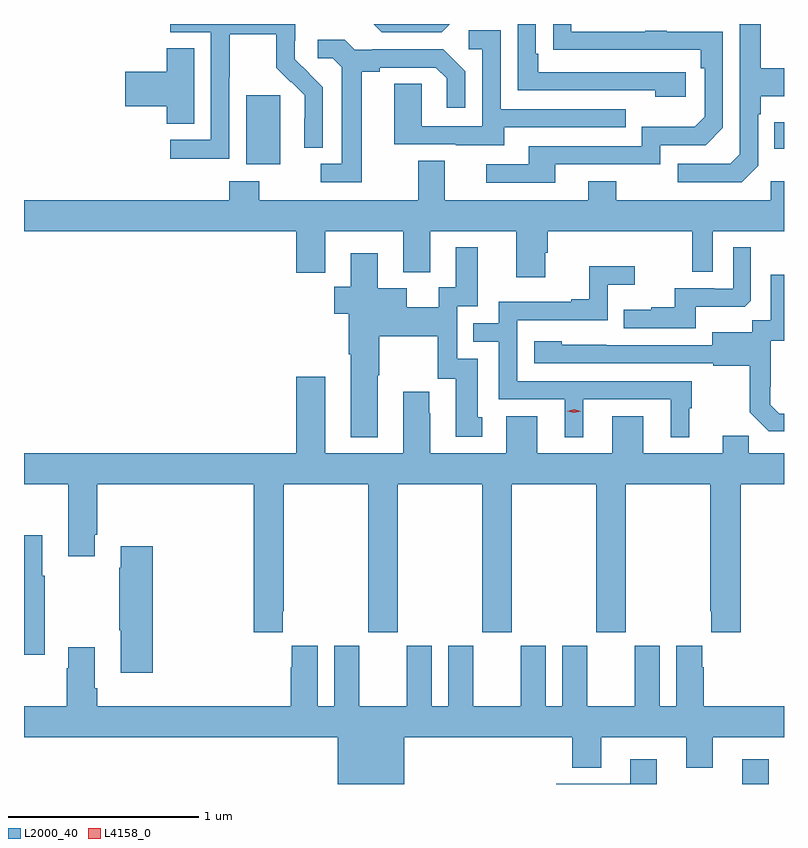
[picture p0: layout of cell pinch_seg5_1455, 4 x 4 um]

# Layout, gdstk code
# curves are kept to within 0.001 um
import gdstk
lib = gdstk.Library(unit=1e-6, precision=1e-09)
def R(c, l, rs):  # rectangles x0, y0, x1, y1
    for r in rs: c.add(gdstk.rectangle(r[:2], r[2:], *l))
def P(c, l, *ps):  # polygons
    for p in ps: c.add(gdstk.Polygon(p, *l))
L2000_40 = (2000, 40)
L4158_0 = (4158, 0)

pinch_seg5_1455 = lib.new_cell('pinch_seg5_1455')
R(pinch_seg5_1455, L2000_40, [(199.235,843.195,199.375,843.325), (196.625,846.458,196.804,846.819), (199.405,846.539,199.456,846.679)])
P(pinch_seg5_1455, L2000_40, [(196.536,846.916),(196.539,846.916),(196.539,847.14),(196.783,847.14),(196.783,846.965),(196.86,846.888),(196.863,846.891),(196.934,846.821),(196.934,846.698),(196.932,846.698),(196.932,846.544),(197.028,846.544),(197.028,846.862),(196.882,847.01),(196.882,847.107),(196.884,847.107),(196.884,847.195),(196.227,847.195),(196.227,847.152),(196.44,847.152),(196.44,846.585),(196.227,846.585),(196.227,846.487),(196.536,846.487)],
  [(197.698,847.195),(197.297,847.195),(197.34,847.152),(197.655,847.152)],
  [(198.94,846.942),(198.163,846.942),(198.163,847.039),(198.15,847.039),(198.15,847.195),(198.054,847.195),(198.054,846.846),(198.779,846.846),(198.779,846.812),(198.94,846.812)],
  [(199.32,846.45),(199.32,846.719),(199.333,846.719),(199.333,846.815),(199.456,846.815),(199.456,846.963),(199.333,846.963),(199.333,847.195),(199.22,847.195),(199.224,847.191),(199.224,846.51),(199.173,846.459),(198.897,846.459),(198.897,846.363),(199.233,846.363)],
  [(198.253,846.456),(198.804,846.456),(198.804,846.558),(199.044,846.558),(199.134,846.648),(199.134,847.155),(198.839,847.155),(198.839,847.16),(198.727,847.16),(198.727,847.155),(198.337,847.155),(198.337,847.195),(198.241,847.195),(198.241,847.06),(199.018,847.059),(199.018,846.962),(199.038,846.962),(199.038,846.708),(198.985,846.655),(198.708,846.655),(198.708,846.552),(198.113,846.552),(198.113,846.456),(197.889,846.456),(197.889,846.36),(198.253,846.36)],
  [(197.983,846.651),(198.623,846.651),(198.623,846.747),(197.964,846.747),(197.964,847.163),(197.796,847.163),(197.796,847.062),(197.868,847.062),(197.868,846.657),(197.55,846.657),(197.55,846.881),(197.405,846.881),(197.405,846.561),(197.729,846.561),(197.729,846.557),(197.983,846.557)],
  [(197.233,846.944),(197.329,846.944),(197.329,846.966),(197.624,846.966),(197.681,846.909),(197.681,846.753),(197.778,846.753),(197.778,846.946),(197.662,847.062),(197.29,847.062),(197.29,847.059),(197.196,847.059),(197.144,847.111),(197.001,847.111),(197.001,847.014),(197.082,847.014),(197.129,846.967),(197.129,846.459),(197.019,846.459),(197.019,846.363),(197.233,846.363)],
  [(196.351,847.067),(196.208,847.067),(196.208,846.944),(195.99,846.944),(195.99,846.761),(196.208,846.761),(196.208,846.67),(196.351,846.67)],
  [(199.456,846.367),(199.386,846.367),(199.386,846.268),(198.573,846.268),(198.573,846.367),(198.425,846.367),(198.425,846.268),(197.671,846.268),(197.671,846.476),(197.531,846.476),(197.531,846.268),(196.695,846.268),(196.695,846.367),(196.535,846.367),(196.535,846.268),(195.456,846.268),(195.456,846.104),(196.889,846.104),(196.889,845.886),(197.041,845.886),(197.041,846.104),(197.453,846.104),(197.453,845.888),(197.593,845.888),(197.593,846.104),(198.047,846.104),(198.047,845.862),(198.199,845.862),(198.199,845.991),(198.212,845.991),(198.212,846.104),(198.972,846.104),(198.972,845.89),(199.08,845.89),(199.08,846.104),(199.456,846.104)],
  [(198.991,845.708),(199.249,845.708),(199.281,845.739),(199.281,846.019),(199.188,846.019),(199.188,845.802),(199.088,845.802),(199.088,845.805),(198.881,845.805),(198.881,845.704),(198.757,845.704),(198.757,845.692),(198.613,845.692),(198.613,845.595),(198.991,845.595)],
  [(197.317,845.347),(197.325,845.347),(197.325,845.552),(197.633,845.552),(197.633,845.328),(197.729,845.328),(197.729,845.022),(197.869,845.022),(197.869,845.124),(197.845,845.124),(197.845,845.433),(197.736,845.433),(197.736,845.709),(197.845,845.709),(197.845,846.019),(197.729,846.019),(197.729,845.81),(197.639,845.81),(197.639,845.704),(197.47,845.704),(197.47,845.803),(197.317,845.803),(197.317,845.989),(197.177,845.989),(197.177,845.811),(197.09,845.811),(197.09,845.669),(197.165,845.669),(197.165,845.456),(197.177,845.456),(197.177,845.021),(197.317,845.021)],
  [(198.4,845.22),(198.86,845.22),(198.86,845.021),(198.958,845.021),(198.958,845.172),(198.97,845.172),(198.97,845.316),(198.051,845.316),(198.051,845.637),(198.528,845.637),(198.528,845.822),(198.67,845.822),(198.67,845.921),(198.43,845.921),(198.43,845.746),(198.335,845.746),(198.335,845.733),(197.955,845.733),(197.955,845.619),(197.821,845.619),(197.821,845.523),(197.955,845.523),(197.955,845.22),(198.302,845.22),(198.302,845.021),(198.4,845.021)],
  [(199.456,845.145),(199.431,845.145),(199.384,845.192),(199.384,845.287),(199.386,845.287),(199.386,845.528),(199.456,845.528),(199.456,845.875),(199.385,845.875),(199.385,845.636),(199.29,845.636),(199.29,845.572),(199.079,845.572),(199.079,845.505),(198.285,845.506),(198.285,845.524),(198.141,845.524),(198.141,845.409),(199.083,845.409),(199.083,845.397),(199.275,845.397),(199.275,845.151),(199.375,845.051),(199.456,845.051)],
  [(195.456,844.772),(195.689,844.772),(195.689,844.395),(195.829,844.395),(195.829,844.507),(195.842,844.507),(195.842,844.772),(196.664,844.772),(196.664,843.993),(196.819,843.993),(196.819,844.105),(196.824,844.105),(196.824,844.772),(197.269,844.772),(197.269,843.993),(197.424,843.993),(197.424,844.772),(197.869,844.772),(197.869,843.993),(198.024,843.993),(198.024,844.772),(198.469,844.772),(198.469,843.993),(198.624,843.993),(198.624,844.772),(199.069,844.772),(199.069,844.105),(199.073,844.105),(199.073,843.993),(199.229,843.993),(199.229,844.772),(199.456,844.772),(199.456,844.936),(199.271,844.936),(199.271,845.027),(199.133,845.027),(199.133,844.936),(198.715,844.936),(198.715,845.131),(198.551,845.131),(198.551,844.936),(198.157,844.936),(198.157,845.131),(197.993,845.131),(197.993,844.936),(197.593,844.936),(197.593,845.147),(197.59,845.147),(197.59,845.26),(197.453,845.26),(197.453,844.936),(197.041,844.936),(197.041,845.338),(196.889,845.338),(196.889,844.936),(195.456,844.936)],
  [(195.565,844.291),(195.553,844.291),(195.553,844.504),(195.456,844.504),(195.456,843.875),(195.565,843.875)],
  [(196.133,844.447),(195.965,844.447),(195.965,844.334),(195.958,844.334),(195.958,844.003),(195.965,844.003),(195.965,843.78),(196.133,843.78)],
  [(197.458,843.44),(198.341,843.44),(198.341,843.281),(198.493,843.281),(198.493,843.44),(198.941,843.44),(198.941,843.28),(199.081,843.28),(199.081,843.44),(199.456,843.44),(199.456,843.604),(199.034,843.604),(199.034,843.809),(199.027,843.809),(199.027,843.922),(198.89,843.922),(198.89,843.604),(198.802,843.604),(198.802,843.922),(198.671,843.922),(198.671,843.604),(198.421,843.604),(198.421,843.922),(198.29,843.922),(198.29,843.604),(198.202,843.604),(198.202,843.922),(198.071,843.922),(198.071,843.604),(197.821,843.604),(197.821,843.922),(197.69,843.922),(197.69,843.604),(197.602,843.604),(197.602,843.922),(197.471,843.922),(197.471,843.604),(197.221,843.604),(197.221,843.922),(197.09,843.922),(197.09,843.604),(197.002,843.604),(197.002,843.922),(196.865,843.922),(196.865,843.809),(196.859,843.809),(196.859,843.604),(195.842,843.604),(195.842,843.7),(195.829,843.7),(195.829,843.916),(195.689,843.916),(195.689,843.803),(195.682,843.803),(195.682,843.604),(195.456,843.604),(195.456,843.44),(197.108,843.44),(197.108,843.195),(197.458,843.195)],
  [(198.647,843.325),(198.647,843.196),(198.257,843.196),(198.257,843.195),(198.787,843.195),(198.787,843.325)])
P(pinch_seg5_1455, L4158_0, [(198.351,845.148),(198.315,845.158),(198.315,845.158),(198.315,845.158),(198.351,845.168),(198.387,845.158),(198.387,845.158),(198.387,845.158)])

lib.write_gds('pinch_seg5_1455.gds')
